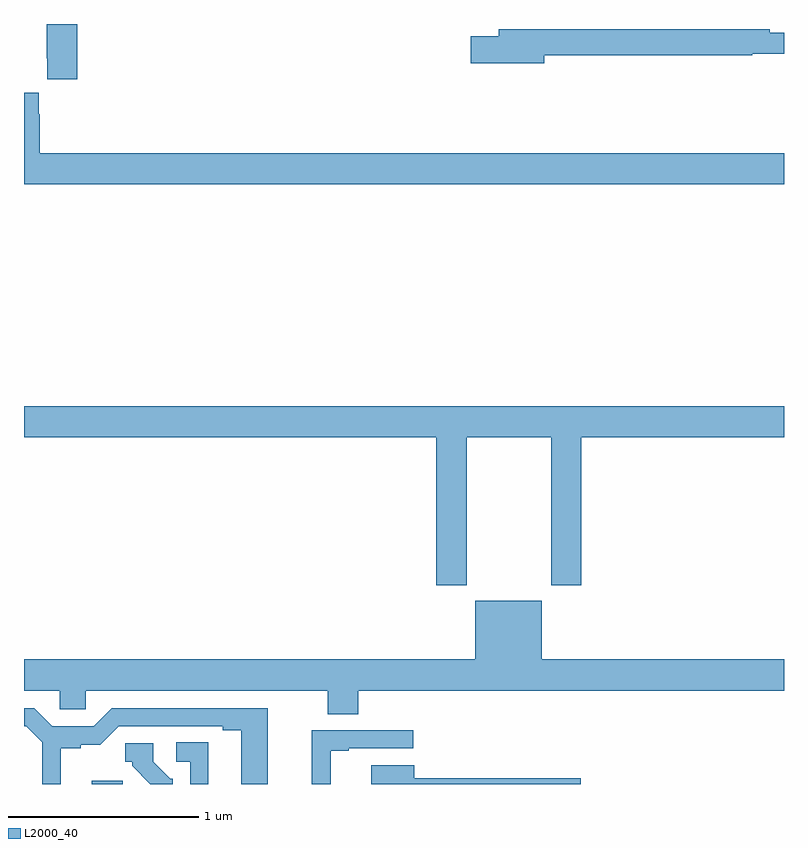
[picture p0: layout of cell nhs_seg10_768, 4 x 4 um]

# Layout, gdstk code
import gdstk
lib = gdstk.Library(unit=1e-6, precision=1e-09)
def R(c, l, rs):  # rectangles x0, y0, x1, y1
    for r in rs: c.add(gdstk.rectangle(r[:2], r[2:], *l))
def P(c, l, *ps):  # polygons
    for p in ps: c.add(gdstk.Polygon(p, *l))
L2000_40 = (2000, 40)

nhs_seg10_768 = lib.new_cell('nhs_seg10_768')
R(nhs_seg10_768, L2000_40, [(149.357,1290.5,149.521,1290.517)])
P(nhs_seg10_768, L2000_40, [(149.279,1294.5),(149.119,1294.5),(149.119,1294.321),(149.123,1294.321),(149.123,1294.209),(149.279,1294.209)],
  [(151.738,1294.336),(152.834,1294.336),(152.834,1294.344),(153,1294.344),(153,1294.453),(152.924,1294.453),(152.924,1294.472),(151.499,1294.472),(151.499,1294.436),(151.35,1294.436),(151.35,1294.294),(151.738,1294.294)],
  [(153,1293.82),(149.084,1293.82),(149.084,1294.025),(149.077,1294.025),(149.077,1294.138),(149,1294.138),(149,1293.656),(153,1293.656)],
  [(149,1292.324),(151.169,1292.324),(151.169,1291.545),(151.329,1291.545),(151.329,1292.324),(151.774,1292.324),(151.774,1291.545),(151.934,1291.545),(151.934,1292.324),(153,1292.324),(153,1292.488),(149,1292.488)],
  [(150.758,1290.992),(153,1290.992),(153,1291.156),(151.726,1291.156),(151.726,1291.465),(151.376,1291.465),(151.376,1291.156),(149,1291.156),(149,1290.992),(149.187,1290.992),(149.187,1290.894),(149.325,1290.894),(149.325,1290.992),(150.598,1290.992),(150.598,1290.868),(150.758,1290.868)],
  [(149.194,1290.688),(149.298,1290.688),(149.298,1290.707),(149.402,1290.707),(149.499,1290.804),(150.047,1290.804),(150.047,1290.784),(150.143,1290.784),(150.143,1290.5),(150.283,1290.5),(150.283,1290.9),(149.463,1290.9),(149.367,1290.804),(149.149,1290.804),(149.053,1290.9),(149,1290.9),(149,1290.804),(149.013,1290.804),(149.097,1290.72),(149.097,1290.5),(149.194,1290.5)],
  [(150.614,1290.675),(150.709,1290.675),(150.709,1290.687),(151.048,1290.687),(151.048,1290.783),(150.514,1290.783),(150.514,1290.5),(150.614,1290.5)],
  [(149.971,1290.719),(149.802,1290.719),(149.802,1290.618),(149.874,1290.618),(149.874,1290.5),(149.971,1290.5)],
  [(149.784,1290.528),(149.769,1290.528),(149.679,1290.618),(149.679,1290.714),(149.532,1290.714),(149.532,1290.618),(149.571,1290.618),(149.571,1290.595),(149.665,1290.5),(149.784,1290.5)],
  [(151.929,1290.529),(151.054,1290.529),(151.054,1290.598),(150.827,1290.598),(150.827,1290.5),(151.929,1290.5)])

lib.write_gds('nhs_seg10_768.gds')
